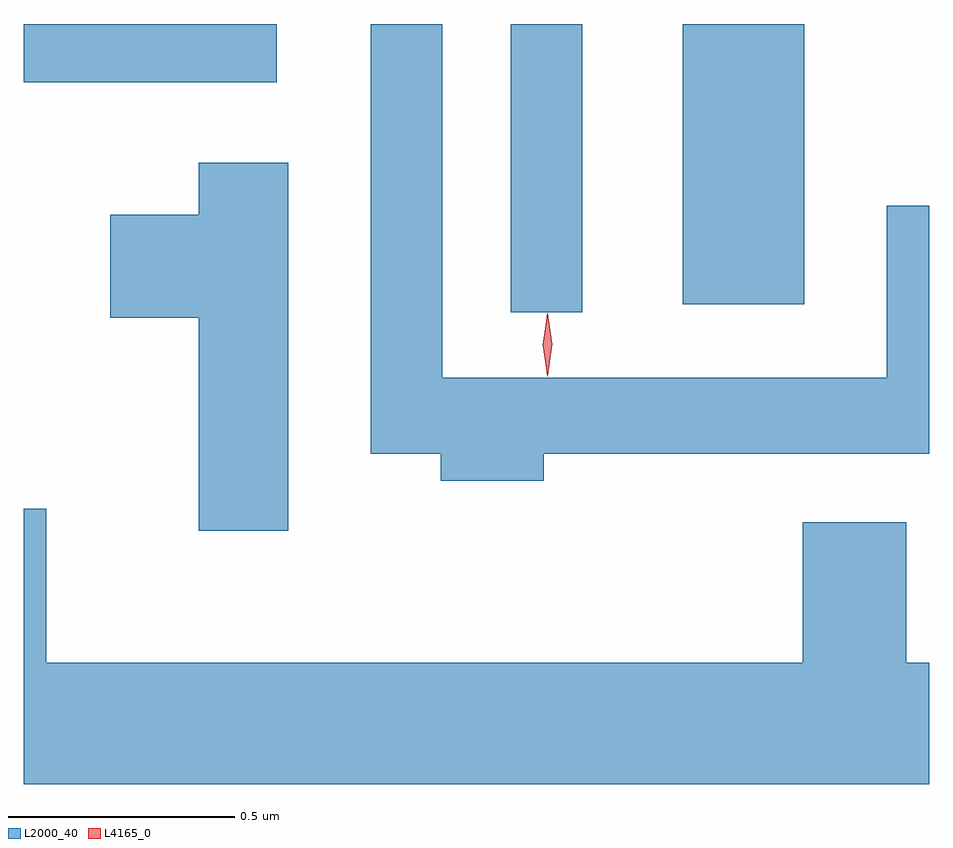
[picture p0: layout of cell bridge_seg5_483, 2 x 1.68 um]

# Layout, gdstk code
import gdstk
lib = gdstk.Library(unit=1e-6, precision=1e-09)
def R(c, l, rs):  # rectangles x0, y0, x1, y1
    for r in rs: c.add(gdstk.rectangle(r[:2], r[2:], *l))
def P(c, l, *ps):  # polygons
    for p in ps: c.add(gdstk.Polygon(p, *l))
L2000_40 = (2000, 40)
L4165_0 = (4165, 0)

bridge_seg5_483 = lib.new_cell('bridge_seg5_483')
R(bridge_seg5_483, L2000_40, [(391.736,1491.138,391.894,1491.775), (392.116,1491.156,392.384,1491.775), (390.66,1491.646,391.219,1491.775)])
P(bridge_seg5_483, L2000_40, [(391.809,1490.826),(392.66,1490.826),(392.66,1491.373),(392.566,1491.373),(392.566,1490.994),(391.584,1490.994),(391.584,1491.775),(391.426,1491.775),(391.426,1490.826),(391.581,1490.826),(391.581,1490.766),(391.809,1490.766)],
  [(391.244,1491.469),(391.046,1491.469),(391.046,1491.354),(390.851,1491.354),(390.851,1491.126),(391.046,1491.126),(391.046,1490.656),(391.244,1490.656)],
  [(392.66,1490.364),(392.609,1490.364),(392.609,1490.674),(392.381,1490.674),(392.381,1490.364),(390.709,1490.364),(390.709,1490.704),(390.66,1490.704),(390.66,1490.096),(392.66,1490.096)])
P(bridge_seg5_483, L4165_0, [(391.816,1490.997),(391.807,1491.067),(391.816,1491.136),(391.817,1491.136),(391.817,1491.136),(391.827,1491.067),(391.817,1490.997),(391.817,1490.997)],
  [(391.816,1490.999),(391.816,1491),(391.806,1491.066),(391.816,1491.132),(391.816,1491.133),(391.817,1491.132),(391.826,1491.066),(391.817,1491)])

lib.write_gds('bridge_seg5_483.gds')
